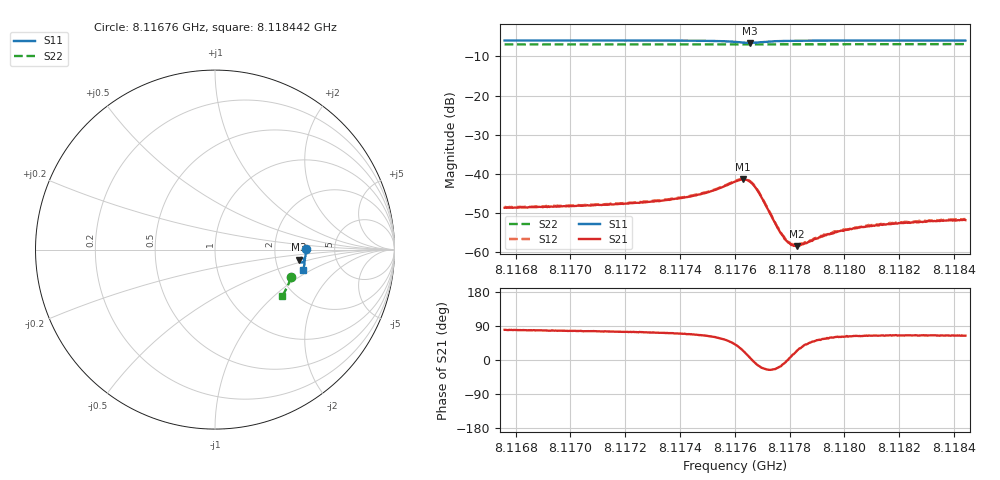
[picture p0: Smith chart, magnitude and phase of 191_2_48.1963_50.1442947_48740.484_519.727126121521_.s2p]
#  HZ  S  RI  R  50.00
! Rohde & Schwarz Vector Network Analyzer
! Rohde-Schwarz,ZNB20-2Port,1311601062101988,3.16
! Created: UTC 3/20/2024, 11:44:38 AM
! freq[Hz]  re:S11  im:S11  re:S21  im:S21  re:S12  im:S12  re:S22  im:S22
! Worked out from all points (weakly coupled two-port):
!   401 points, 8.11676 GHz to 8.118442 GHz, reference 50 ohm
!   highest |S21| = -41.39 dB at 8.11763 GHz (marker M1); lowest = -58.4 dB at 8.117828 GHz (marker M2)
!   lowest |S11| = -6.5 dB at 8.117655 GHz (marker M3), VSWR 2.79, Z = 136 - j19.9 ohm
!   |S11| at or under -10 dB: nowhere
!   |S22| runs from -6.9 to -6.8 dB; largest |S21 - S12| = 0.00021
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8.1167597e9  0.5064 0.00135  0.000668 0.00364  0.000755 0.00372  0.4236 -0.1535
8.1170414e9  0.5056 -0.0207  0.000928 0.00381  0.000958 0.00388  0.4172 -0.1719
8.1173232e9  0.5029 -0.0439  0.00141 0.00427  0.00148 0.00436  0.4099 -0.1903
8.1174157e9  0.501 -0.0527  0.00177 0.00468  0.00186 0.00474  0.4074 -0.1964
8.1174914e9  0.4978 -0.061  0.00245 0.00514  0.00256 0.00522  0.405 -0.2013
8.1175334e9  0.4942 -0.0661  0.00325 0.00545  0.00336 0.00552  0.4036 -0.2039
8.1176007e9  0.4809 -0.0721  0.006 0.00526  0.00619 0.00531  0.4012 -0.2081
8.1176301e9  0.4715 -0.0676  0.00774 0.00356  0.00792 0.00355  0.3999 -0.2095
8.1176554e9  0.4684 -0.057  0.00794 0.00082  0.00809 0.000741  0.3991 -0.2105
8.1176722e9  0.472 -0.05  0.0069 -0.000773  0.00702 -0.000881  0.399 -0.2113
8.117689e9  0.478 -0.0467  0.00545 -0.00157  0.00556 -0.00168  0.3987 -0.2122
8.1177605e9  0.4946 -0.0538  0.00184 -0.000634  0.0019 -0.000642  0.3974 -0.2171
8.1177815e9  0.4962 -0.057  0.00146 -0.000215  0.00153 -0.000192  0.3969 -0.2185
8.1177983e9  0.4971 -0.0595  0.00131 9.38e-05  0.00133 8.36e-05  0.3962 -0.2197
8.1178152e9  0.4978 -0.0617  0.00116 0.000323  0.00117 0.000369  0.3958 -0.2206
8.1178278e9  0.498 -0.0635  0.00108 0.000507  0.00114 0.000509  0.3954 -0.2215
8.1178824e9  0.4985 -0.0697  0.000928 0.00104  0.000987 0.00104  0.3937 -0.2251
8.1179834e9  0.4981 -0.0798  0.000894 0.00163  0.000937 0.00167  0.3903 -0.2314
8.1180801e9  0.497 -0.0881  0.000918 0.00192  0.000963 0.00197  0.387 -0.2374
8.1181642e9  0.4957 -0.095  0.000962 0.00207  0.00101 0.00214  0.3841 -0.2425
8.1183114e9  0.4936 -0.1066  0.00106 0.00226  0.00113 0.0023  0.379 -0.2514
8.1184417e9  0.4912 -0.1164  0.00112 0.00232  0.00119 0.00237  0.3742 -0.2593
